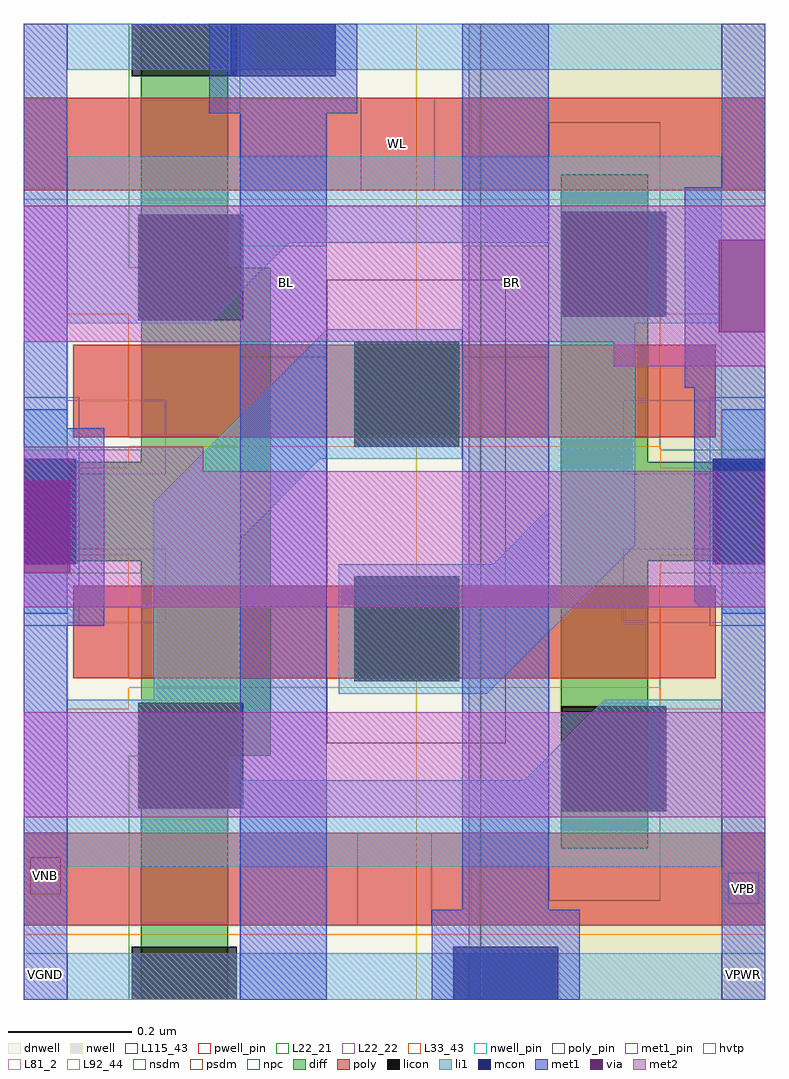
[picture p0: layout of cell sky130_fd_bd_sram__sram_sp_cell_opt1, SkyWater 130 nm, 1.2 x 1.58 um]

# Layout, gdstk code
import gdstk
lib = gdstk.Library(unit=1e-6, precision=1e-09)
def R(c, l, rs):  # rectangles x0, y0, x1, y1
    for r in rs: c.add(gdstk.rectangle(r[:2], r[2:], *l))
def P(c, l, *ps):  # polygons
    for p in ps: c.add(gdstk.Polygon(p, *l))
L22_21 = (22, 21)
L22_22 = (22, 22)
L33_43 = (33, 43)
nwell_pin = (64, 16)
dnwell = (64, 18)
nwell = (64, 20)
diff = (65, 20)
poly_pin = (66, 16)
poly = (66, 20)
licon = (66, 44)
li1 = (67, 20)
mcon = (67, 44)
met1_pin = (68, 16)
met1 = (68, 20)
via = (68, 44)
met2 = (69, 20)
hvtp = (78, 44)
L81_2 = (81, 2)
L92_44 = (92, 44)
nsdm = (93, 44)
psdm = (94, 20)
npc = (95, 20)
L115_43 = (115, 43)
pwell_pin = (122, 16)

sky130_fd_bd_sram__sram_ = lib.new_cell('sky130_fd_bd_sram__sram_sp_cell_met2')
R(sky130_fd_bd_sram__sram_, met2, [(0,0.295,1.2,0.465)])
P(sky130_fd_bd_sram__sram_, met2, [(0,0.635),(0,0.895),(0.29,0.895),(0.29,0.855),(1.2,0.855),(1.2,0.635)],
  [(0.955,1.025),(0.955,1.065),(0,1.065),(0,1.285),(1.2,1.285),(1.2,1.025)])

c_sky130_fd_bd_sram__sram_ = lib.new_cell('sky130_fd_bd_sram__sram_sp_cell_fom_serif_pmos')
R(c_sky130_fd_bd_sram__sram_, L22_22, [(0,0,0.16,0.12)])

c_sky130_fd_bd_sram__sram__ = lib.new_cell('sky130_fd_bd_sram__sram_sp_cell_fom_serif_nmos')
R(c_sky130_fd_bd_sram__sram__, L22_22, [(0,0,0.16,0.12)])

c_sky130_fd_bd_sram__sram___ = lib.new_cell('sky130_fd_bd_sram__sram_sp_cell_fom_serifs')
c_sky130_fd_bd_sram__sram___.add(gdstk.Reference(c_sky130_fd_bd_sram__sram_, (0.97,0)))
c_sky130_fd_bd_sram__sram___.add(gdstk.Reference(c_sky130_fd_bd_sram__sram_, (0.97,0.24)))
c_sky130_fd_bd_sram__sram___.add(gdstk.Reference(c_sky130_fd_bd_sram__sram__, (0.07,0.24)))
c_sky130_fd_bd_sram__sram___.add(gdstk.Reference(c_sky130_fd_bd_sram__sram__, (0.07,0)))

c_sky130_fd_bd_sram__sram____ = lib.new_cell('sky130_fd_bd_sram__sram_sp_cell')
R(c_sky130_fd_bd_sram__sram____, L22_21, [(0.17,0,0.19,0.395), (0.33,0,0.35,0.395), (0,0.69,0.19,0.71), (0,0.87,0.19,0.89), (0.17,1.185,0.19,1.58), (0.33,1.185,0.35,1.58)])
P(c_sky130_fd_bd_sram__sram____, L22_21, [(0.85,0.16),(0.85,1.42),(1.03,1.42),(1.03,0.89),(1.2,0.89),(1.2,0.87),(1.01,0.87),(1.01,1.335),(0.87,1.335),(0.87,0.245),(1.01,0.245),(1.01,0.71),(1.2,0.71),(1.2,0.69),(1.03,0.69),(1.03,0.16)])
R(c_sky130_fd_bd_sram__sram____, nwell, [(0.72,0,1.2,1.58)])
P(c_sky130_fd_bd_sram__sram____, diff, [(0.87,0.245),(0.87,1.335),(1.01,1.335),(1.01,0.87),(1.2,0.87),(1.2,0.71),(1.01,0.71),(1.01,0.245)],
  [(0.19,0),(0.19,0.71),(0,0.71),(0,0.87),(0.19,0.87),(0.19,1.58),(0.33,1.58),(0.33,1.185),(0.4,1.185),(0.4,0.395),(0.33,0.395),(0.33,0)])
R(c_sky130_fd_bd_sram__sram____, poly, [(0.08,0.12,1.2,0.27), (0.08,0.52,1.12,0.67), (0.08,0.91,1.12,1.06), (0.08,1.31,1.2,1.46)])
R(c_sky130_fd_bd_sram__sram____, licon, [(0.175,0,0.345,0.085), (0.87,0.305,1.04,0.475), (0.185,0.31,0.355,0.48), (0.535,0.515,0.705,0.685), (0,0.705,0.085,0.875), (1.115,0.705,1.2,0.875), (0.535,0.895,0.705,1.065), (0.185,1.1,0.355,1.27), (0.87,1.105,1.04,1.275), (0.175,1.495,0.345,1.58)])
R(c_sky130_fd_bd_sram__sram____, li1, [(0.07,0,1.13,0.075), (0,0.625,0.07,0.955), (1.13,0.625,1.2,0.955), (0.07,1.505,1.13,1.58)])
P(c_sky130_fd_bd_sram__sram____, li1, [(0.07,0.215),(0.07,0.485),(0.21,0.485),(0.21,0.805),(0.49,1.085),(0.71,1.085),(0.71,0.875),(0.48,0.875),(0.35,0.745),(0.35,0.355),(0.81,0.355),(0.94,0.485),(1.13,0.485),(1.13,0.215)],
  [(0.51,0.495),(0.51,0.705),(0.76,0.705),(0.85,0.795),(0.85,1.225),(0.43,1.225),(0.3,1.095),(0.07,1.095),(0.07,1.365),(1.13,1.365),(1.13,1.095),(0.99,1.095),(0.99,0.735),(0.75,0.495)])
R(c_sky130_fd_bd_sram__sram____, mcon, [(1.115,0.705,1.2,0.875)])
R(c_sky130_fd_bd_sram__sram____, hvtp, [(0.72,0,1.2,1.58)])
R(c_sky130_fd_bd_sram__sram____, L81_2, [(0,0,1.2,1.58)])
R(c_sky130_fd_bd_sram__sram____, L92_44, [(0.635,0,1.2,1.58)])
R(c_sky130_fd_bd_sram__sram____, nsdm, [(0,0,0.74,1.58)])
R(c_sky130_fd_bd_sram__sram____, psdm, [(0.74,0,1.2,1.58)])
R(c_sky130_fd_bd_sram__sram____, npc, [(0.49,0.415,0.78,1.165)])
P(c_sky130_fd_bd_sram__sram____, L115_43, [(1.11,0.605),(1.11,0.975),(1.2,0.975),(1.2,0.955),(1.13,0.955),(1.13,0.625),(1.2,0.625),(1.2,0.605)],
  [(0,0.605),(0,0.625),(0.07,0.625),(0.07,0.955),(0,0.955),(0,0.975),(0.09,0.975),(0.09,0.605)])
c_sky130_fd_bd_sram__sram____.add(gdstk.Reference(c_sky130_fd_bd_sram__sram___, (0,0.61)))

c_sky130_fd_bd_sram__sram_____ = lib.new_cell('sky130_fd_bd_sram__sram_sp_cell_addpoly')
R(c_sky130_fd_bd_sram__sram_____, poly, [(0,0.12,0.08,0.27), (0,1.31,0.08,1.46)])

c_sky130_fd_bd_sram__sram______ = lib.new_cell('sky130_fd_bd_sram__sram_sp_cell_metopt1')
R(c_sky130_fd_bd_sram__sram______, mcon, [(0.695,0,0.865,0.085), (0,0.705,0.085,0.875), (1.115,0.705,1.2,0.875), (0.335,1.495,0.505,1.58)])
P(c_sky130_fd_bd_sram__sram______, met1, [(1.13,0),(1.13,0.635),(1.095,0.635),(1.085,0.645),(1.085,0.99),(1.07,0.99),(1.07,1.315),(1.13,1.315),(1.13,1.58),(1.2,1.58),(1.2,0)],
  [(0.66,0),(0.66,0.145),(0.71,0.145),(0.71,1.58),(0.85,1.58),(0.85,0.145),(0.9,0.145),(0.9,0)],
  [(0.35,0),(0.35,1.435),(0.3,1.435),(0.3,1.58),(0.54,1.58),(0.54,1.435),(0.49,1.435),(0.49,0)],
  [(0,0),(0,1.58),(0.07,1.58),(0.07,0.925),(0.13,0.925),(0.13,0.605),(0.07,0.605),(0.07,0)])

c_sky130_fd_bd_sram__sram_______ = lib.new_cell('sky130_fd_bd_sram__sram_sp_cell_opt1_ce')
R(c_sky130_fd_bd_sram__sram_______, dnwell, [(0,0,1.2,1.58)])
c_sky130_fd_bd_sram__sram_______.add(gdstk.Reference(c_sky130_fd_bd_sram__sram____, (0,0)))
c_sky130_fd_bd_sram__sram_______.add(gdstk.Reference(c_sky130_fd_bd_sram__sram_____, (0,0)))
c_sky130_fd_bd_sram__sram_______.add(gdstk.Reference(c_sky130_fd_bd_sram__sram______, (0,0)))

c_sky130_fd_bd_sram__sram________ = lib.new_cell('sky130_fd_bd_sram__sram_sp_cell_via')
R(c_sky130_fd_bd_sram__sram________, via, [(0,0.69,0.075,0.84), (1.125,1.08,1.2,1.23)])

c_sky130_fd_bd_sram__sram_________ = lib.new_cell('sky130_fd_bd_sram__sram_sp_cell_p1_serif')
R(c_sky130_fd_bd_sram__sram_________, L33_43, [(-0.01,-0.125,0.09,0.125)])

c_sky130_fd_bd_sram__sram__________ = lib.new_cell('sky130_fd_bd_sram__sram_sp_cell_p1_serifs')
c_sky130_fd_bd_sram__sram__________.add(gdstk.Reference(c_sky130_fd_bd_sram__sram_________, (0.97,0.515)))
c_sky130_fd_bd_sram__sram__________.add(gdstk.Reference(c_sky130_fd_bd_sram__sram_________, (0.97,0.125)))
c_sky130_fd_bd_sram__sram__________.add(gdstk.Reference(c_sky130_fd_bd_sram__sram_________, (0.01,0.515)))
c_sky130_fd_bd_sram__sram__________.add(gdstk.Reference(c_sky130_fd_bd_sram__sram_________, (0.01,0.125)))

c_sky130_fd_bd_sram__sram___________ = lib.new_cell('sky130_fd_bd_sram__sram_sp_cell_p1m_sizing')
R(c_sky130_fd_bd_sram__sram___________, L33_43, [(0.08,0.105,1.2,0.12), (0.07,0.505,1.13,0.52), (0.07,0.895,1.13,0.91), (0.08,1.295,1.2,1.31)])
c_sky130_fd_bd_sram__sram___________.add(gdstk.Reference(c_sky130_fd_bd_sram__sram__________, (0.07,0.47)))

c_sky130_fd_bd_sram__sram____________ = lib.new_cell('sky130_fd_bd_sram__sram_sp_cell_addpoly_sizing')
R(c_sky130_fd_bd_sram__sram____________, L33_43, [(0,0.105,0.08,0.12), (0,1.295,0.08,1.31)])

c_sky130_fd_bd_sram__sram_____________ = lib.new_cell('sky130_fd_bd_sram__sram_sp_cell_opt1')
R(c_sky130_fd_bd_sram__sram_____________, nwell_pin, [(1.14,0.155,1.19,0.205)])
R(c_sky130_fd_bd_sram__sram_____________, poly_pin, [(0.54,0.12,0.66,0.27), (0.545,1.31,0.665,1.46)])
R(c_sky130_fd_bd_sram__sram_____________, met1_pin, [(0,0,0.07,0.075), (1.13,0,1.2,0.075), (0.35,1.04,0.49,1.22), (0.71,1.04,0.85,1.22)])
R(c_sky130_fd_bd_sram__sram_____________, pwell_pin, [(0.01,0.17,0.06,0.23)])
c_sky130_fd_bd_sram__sram_____________.add(gdstk.Reference(sky130_fd_bd_sram__sram_, (0,0)))
c_sky130_fd_bd_sram__sram_____________.add(gdstk.Reference(c_sky130_fd_bd_sram__sram_______, (0,0)))
c_sky130_fd_bd_sram__sram_____________.add(gdstk.Reference(c_sky130_fd_bd_sram__sram________, (0,0)))
c_sky130_fd_bd_sram__sram_____________.add(gdstk.Reference(c_sky130_fd_bd_sram__sram___________, (0,0)))
c_sky130_fd_bd_sram__sram_____________.add(gdstk.Reference(c_sky130_fd_bd_sram__sram____________, (0,0)))
c_sky130_fd_bd_sram__sram_____________.add(gdstk.Label('BL', (0.425,1.16), layer=68, texttype=5))
c_sky130_fd_bd_sram__sram_____________.add(gdstk.Label('BR', (0.79,1.16), layer=68, texttype=5))
c_sky130_fd_bd_sram__sram_____________.add(gdstk.Label('VGND', (0.035,0.04), layer=68, texttype=5))
c_sky130_fd_bd_sram__sram_____________.add(gdstk.Label('VPWR', (1.165,0.04), layer=68, texttype=5))
c_sky130_fd_bd_sram__sram_____________.add(gdstk.Label('VPB', (1.165,0.18), layer=64, texttype=5))
c_sky130_fd_bd_sram__sram_____________.add(gdstk.Label('WL', (0.605,1.385), layer=66, texttype=5))
c_sky130_fd_bd_sram__sram_____________.add(gdstk.Label('VNB', (0.035,0.2), layer=64, texttype=59))

lib.write_gds('sky130_fd_bd_sram__sram_sp_cell_opt1.gds')
